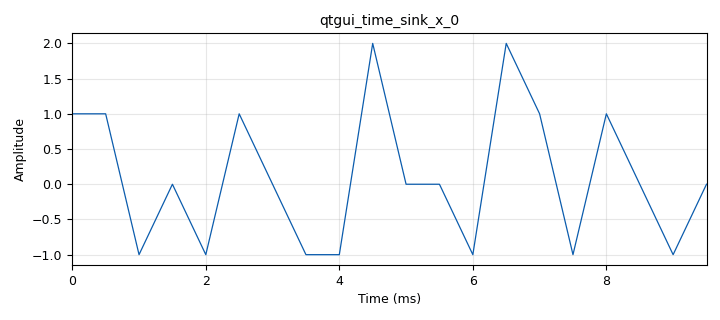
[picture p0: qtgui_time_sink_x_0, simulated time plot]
options:
  parameters:
    generate_options: qt_gui
    id: Actividad05
    output_language: python
    title: test05
  states: {}

blocks:
- name: samp_rate
  id: variable
  parameters:
    value: '2000'
  states: {}
- name: analog_random_uniform_source_x_0
  id: analog_random_uniform_source_x
  parameters:
    maximum: '2'
    minimum: '-1'
    seed: '20'
    type: int
  states: {}
- name: analog_sig_source_x_0
  id: analog_sig_source_x
  parameters:
    amp: '1'
    freq: '500'
    offset: '0'
    phase: '0'
    samp_rate: samp_rate
    type: float
    waveform: analog.GR_SIN_WAVE
  states: {}
- name: audio_sink_0
  id: audio_sink
  parameters:
    device_name: plughw:0,0
    samp_rate: samp_rate
  states: {}
- name: blocks_add_xx_0
  id: blocks_add_xx
  parameters:
    type: float
  states: {}
- name: blocks_int_to_float_0
  id: blocks_int_to_float
  parameters:
    scale: '1'
  states: {}
- name: blocks_throttle_0
  id: blocks_throttle
  parameters:
    samples_per_second: samp_rate
    type: float
  states: {}
- name: qtgui_time_sink_x_0
  id: qtgui_time_sink_x
  parameters:
    autoscale: 'True'
    size: '20'
    srate: samp_rate
    type: float
  states: {}

connections:
- [analog_random_uniform_source_x_0, '0', blocks_int_to_float_0, '0']
- [analog_sig_source_x_0, '0', blocks_add_xx_0, '1']
- [blocks_add_xx_0, '0', blocks_throttle_0, '0']
- [blocks_int_to_float_0, '0', blocks_add_xx_0, '0']
- [blocks_throttle_0, '0', audio_sink_0, '0']
- [blocks_throttle_0, '0', qtgui_time_sink_x_0, '0']

metadata:
  file_format: 1
